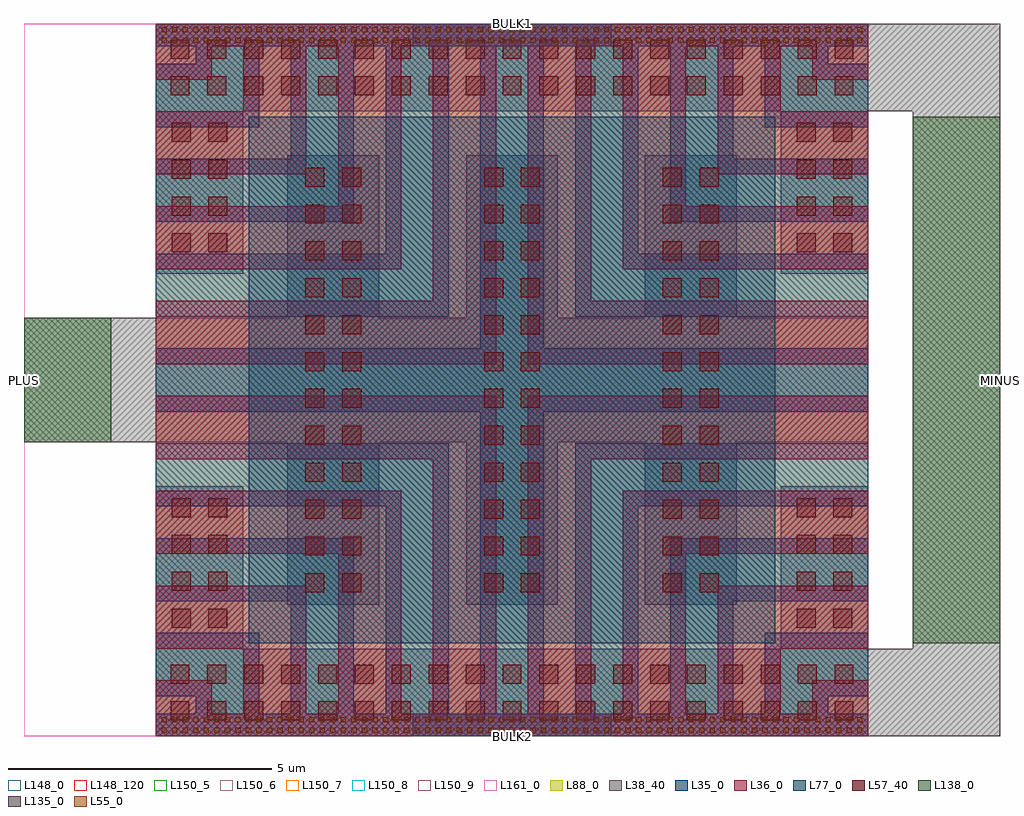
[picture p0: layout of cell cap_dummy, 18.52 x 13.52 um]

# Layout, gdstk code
import gdstk
lib = gdstk.Library(unit=1e-6, precision=1e-09)
def R(c, l, rs):  # rectangles x0, y0, x1, y1
    for r in rs: c.add(gdstk.rectangle(r[:2], r[2:], *l))
def A(c, l, x, y, w, h, nx, ny, dx, dy):  # array of equal rectangles
    R(c, l, [(x+i*dx, y+j*dy, x+i*dx+w, y+j*dy+h) for i in range(nx) for j in range(ny)])
def P(c, l, *ps):  # polygons
    for p in ps: c.add(gdstk.Polygon(p, *l))
L35_0 = (35, 0)
L36_0 = (36, 0)
L38_40 = (38, 40)
L55_0 = (55, 0)
L57_40 = (57, 40)
L77_0 = (77, 0)
L88_0 = (88, 0)
L135_0 = (135, 0)
L138_0 = (138, 0)
L148_0 = (148, 0)
L148_120 = (148, 120)
L150_5 = (150, 5)
L150_6 = (150, 6)
L150_7 = (150, 7)
L150_8 = (150, 8)
L150_9 = (150, 9)
L161_0 = (161, 0)

cap_dummy = lib.new_cell('cap_dummy')
R(cap_dummy, L35_0, [(-1.76,-1.76,-1.6,-1.6), (-1.76,-1.76,11.76,-1.33), (-1,-1.76,0.2,-0.4), (0.8,-1.76,2,1.4), (2.6,-1.76,3.8,3.2), (4.4,-1.76,5.6,11.76), (6.2,-1.76,7.4,3.2), (8,-1.76,9.2,1.4), (9.8,-1.76,11,-0.4), (11.6,-1.76,11.76,-1.6), (-1.76,-1,0.2,0.2), (9.8,-1,11.76,0.2), (-1.76,0.8,2,2), (8,0.8,11.76,2), (-1.76,2.6,3.8,3.8), (6.2,2.6,11.76,3.8), (-1.76,4.4,11.76,5.6), (-1.76,6.2,3.8,7.4), (6.2,6.2,11.76,7.4), (2.6,6.8,3.8,11.76), (6.2,6.8,7.4,11.76), (-1.76,8,2,9.2), (8,8,11.76,9.2), (0.8,8.6,2,11.76), (8,8.6,9.2,11.76), (-1.76,9.8,0.2,11), (9.8,9.8,11.76,11), (-1,10.4,0.2,11.76), (9.8,10.4,11,11.76), (-1.76,11.33,11.76,11.76), (-1.76,11.6,-1.6,11.76), (11.6,11.6,11.76,11.76)])
R(cap_dummy, L36_0, [(-1.76,-1.76,-0.7,-1.3), (-1.76,-1.76,-0.7,-0.7), (-1.76,-1.76,11.76,-1.33), (-0.1,-1.76,1.1,0.5), (1.7,-1.76,2.9,2.3), (3.5,-1.76,4.7,4.1), (5.3,-1.76,6.5,4.1), (7.1,-1.76,8.3,2.3), (8.9,-1.76,10.1,0.5), (10.7,-1.76,11.76,-1.3), (10.7,-1.76,11.76,-0.7), (-1.76,-0.1,1.1,1.1), (8.9,-0.1,11.76,1.1), (-1.76,1.7,2.9,2.9), (7.1,1.7,11.76,2.9), (-1.76,3.5,4.7,4.7), (5.3,3.5,11.76,4.7), (-1.76,5.3,4.7,6.5), (5.3,5.3,11.76,6.5), (3.5,5.9,4.7,11.76), (5.3,5.9,6.5,11.76), (-1.76,7.1,2.9,8.3), (7.1,7.1,11.76,8.3), (1.7,7.7,2.9,11.76), (7.1,7.7,8.3,11.76), (-1.76,8.9,1.1,10.1), (8.9,8.9,11.76,10.1), (-0.1,9.5,1.1,11.76), (8.9,9.5,10.1,11.76), (-1.76,10.7,-0.7,11.76), (10.7,10.7,11.76,11.76), (-1.76,11.3,-0.7,11.76), (10.7,11.3,11.76,11.76), (-1.76,11.33,11.76,11.76)])
A(cap_dummy, L38_40, 0.74, 0.74, 1.74, 3.08, 3, 1, 3.39, 0)
R(cap_dummy, L38_40, [(11.76,-1.76,14.26,-0.1), (12.6,-1.76,14.26,11.76), (-4.26,3.82,11.76,6.18), (0.74,6.18,2.48,9.26), (0.74,6.18,2.48,9.26), (4.13,6.18,5.87,9.26), (4.13,6.18,5.87,9.26), (7.52,6.18,9.26,9.26), (7.52,6.18,9.26,9.26), (11.76,10.1,14.26,11.76)])
P(cap_dummy, L38_40, [(-0.1,10.1),(10.1,10.1),(10.1,7.02),(11.76,7.02),(11.76,11.76),(-1.76,11.76),(-1.76,7.02),(-0.1,7.02)],
  [(-1.76,2.98),(-1.76,-1.76),(11.76,-1.76),(11.76,2.98),(10.1,2.98),(10.1,-0.1),(-0.1,-0.1),(-0.1,2.98)])
A(cap_dummy, L55_0, -1.65, -1.695, 0.1, 0.1, 67, 2, 0.2, 0.2)
A(cap_dummy, L55_0, -1.65, 11.395, 0.1, 0.1, 67, 2, 0.2, 0.2)
A(cap_dummy, L57_40, -1.48, -1.46, 0.36, 0.36, 19, 2, 0.7, 0.7)
A(cap_dummy, L57_40, -1.46, 0.3, 0.36, 0.36, 1, 4, 0, 0.7)
A(cap_dummy, L57_40, -0.76, 0.3, 0.36, 0.36, 1, 4, 0, 0.7)
A(cap_dummy, L57_40, 10.4, 0.3, 0.36, 0.36, 1, 4, 0, 0.7)
A(cap_dummy, L57_40, 11.1, 0.3, 0.36, 0.36, 1, 4, 0, 0.7)
A(cap_dummy, L57_40, 1.08, 0.97, 0.36, 0.36, 1, 12, 0, 0.7)
A(cap_dummy, L57_40, 1.78, 0.97, 0.36, 0.36, 1, 12, 0, 0.7)
A(cap_dummy, L57_40, 4.47, 0.97, 0.36, 0.36, 1, 12, 0, 0.7)
A(cap_dummy, L57_40, 5.17, 0.97, 0.36, 0.36, 1, 12, 0, 0.7)
A(cap_dummy, L57_40, 7.86, 0.97, 0.36, 0.36, 1, 12, 0, 0.7)
A(cap_dummy, L57_40, 8.56, 0.97, 0.36, 0.36, 1, 12, 0, 0.7)
A(cap_dummy, L57_40, -1.46, 7.42, 0.36, 0.36, 1, 4, 0, 0.7)
A(cap_dummy, L57_40, -0.76, 7.42, 0.36, 0.36, 1, 4, 0, 0.7)
A(cap_dummy, L57_40, 10.4, 7.42, 0.36, 0.36, 1, 4, 0, 0.7)
A(cap_dummy, L57_40, 11.1, 7.42, 0.36, 0.36, 1, 4, 0, 0.7)
A(cap_dummy, L57_40, -1.48, 10.4, 0.36, 0.36, 19, 2, 0.7, 0.7)
R(cap_dummy, L77_0, [(0,0,10,10)])
R(cap_dummy, L88_0, [(-1.76,-1.76,11.76,11.76)])
R(cap_dummy, L135_0, [(3.118,-1.76,6.882,-1.33), (3.118,11.33,6.882,11.76)])
R(cap_dummy, L138_0, [(12.6,0,14.26,10), (-4.26,3.82,-2.6,6.18)])
R(cap_dummy, L148_0, [(-4.26,-1.76,14.26,11.76)])
R(cap_dummy, L148_120, [(-4.26,-1.76,14.26,11.76)])
R(cap_dummy, L150_5, [(-4.26,-1.76,14.26,11.76)])
R(cap_dummy, L150_6, [(-4.26,-1.76,14.26,11.76)])
R(cap_dummy, L150_7, [(-4.26,-1.76,14.26,11.76)])
R(cap_dummy, L150_8, [(-4.26,-1.76,14.26,11.76)])
R(cap_dummy, L150_9, [(-4.26,-1.76,14.26,11.76)])
R(cap_dummy, L161_0, [(-4.26,-1.76,14.26,11.76)])
cap_dummy.add(gdstk.Label('BULK1', (5,11.76), layer=135, texttype=0))
cap_dummy.add(gdstk.Label('BULK2', (5,-1.76), layer=135, texttype=0))
cap_dummy.add(gdstk.Label('PLUS', (-4.26,5), layer=138, texttype=0))
cap_dummy.add(gdstk.Label('MINUS', (14.26,5), layer=138, texttype=0))

lib.write_gds('cap_dummy.gds')
